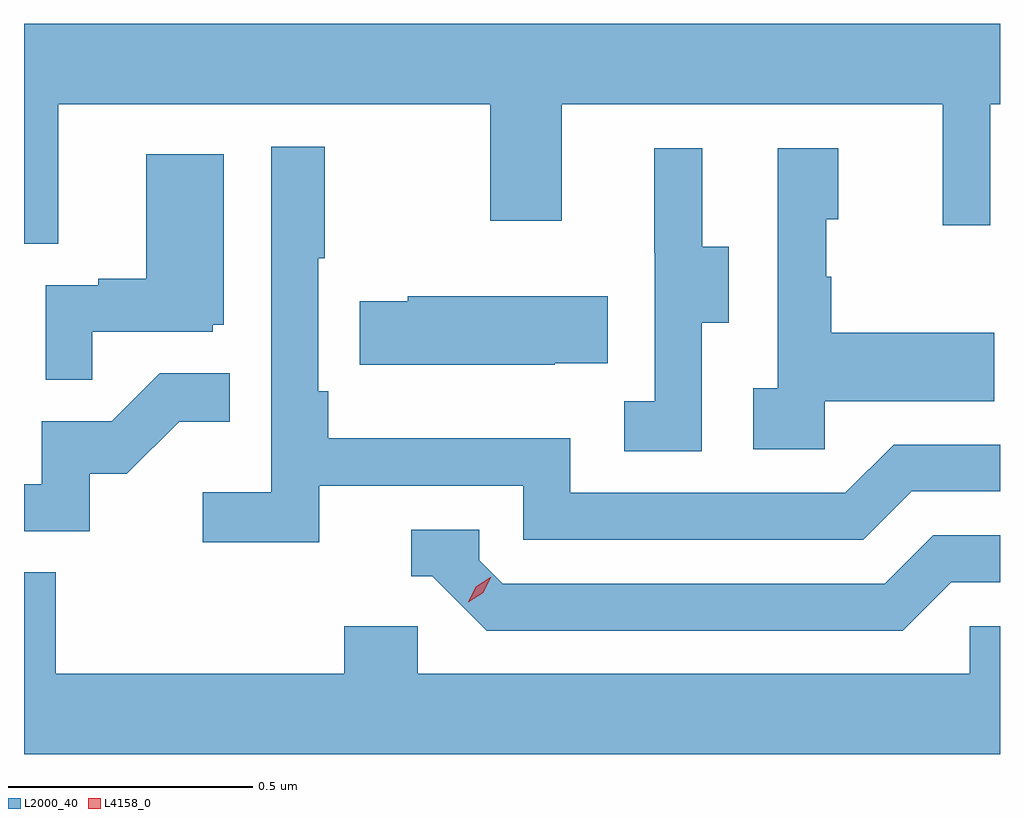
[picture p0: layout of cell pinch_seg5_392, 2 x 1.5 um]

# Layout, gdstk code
import gdstk
lib = gdstk.Library(unit=1e-6, precision=1e-09)
def P(c, l, *ps):  # polygons
    for p in ps: c.add(gdstk.Polygon(p, *l))
L2000_40 = (2000, 40)
L4158_0 = (4158, 0)

pinch_seg5_392 = lib.new_cell('pinch_seg5_392')
P(pinch_seg5_392, L2000_40, [(987.673,867.416),(988.558,867.416),(988.558,867.177),(988.705,867.177),(988.705,867.416),(989.486,867.416),(989.486,867.168),(989.583,867.168),(989.583,867.416),(989.603,867.416),(989.603,867.58),(987.603,867.58),(987.603,867.13),(987.673,867.13)],
  [(988.208,866.634),(988.626,866.634),(988.626,866.523),(989.323,866.523),(989.422,866.622),(989.603,866.622),(989.603,866.718),(989.385,866.718),(989.286,866.619),(988.722,866.619),(988.722,866.731),(988.226,866.731),(988.226,866.827),(988.206,866.827),(988.206,867.1),(988.219,867.1),(988.219,867.328),(988.11,867.328),(988.11,866.62),(987.969,866.62),(987.969,866.518),(988.208,866.518)],
  [(989.244,866.807),(989.591,866.807),(989.591,866.947),(989.257,866.947),(989.257,867.062),(989.247,867.062),(989.247,867.18),(989.272,867.18),(989.272,867.325),(989.148,867.325),(989.148,866.834),(989.097,866.834),(989.097,866.709),(989.244,866.709)],
  [(988.992,866.968),(989.047,866.968),(989.047,867.123),(988.993,867.123),(988.993,867.325),(988.895,867.325),(988.895,867.111),(988.896,867.111),(988.896,866.807),(988.833,866.807),(988.833,866.704),(988.992,866.704)],
  [(987.743,866.949),(987.99,866.949),(987.99,866.964),(988.012,866.964),(988.012,867.313),(987.854,867.313),(987.854,867.058),(987.755,867.058),(987.755,867.045),(987.648,867.045),(987.648,866.851),(987.743,866.851)],
  [(988.691,866.885),(988.799,866.885),(988.799,867.022),(988.389,867.022),(988.389,867.012),(988.291,867.012),(988.291,866.882),(988.691,866.882)],
  [(987.738,866.658),(987.814,866.658),(987.921,866.765),(988.025,866.765),(988.025,866.864),(987.881,866.864),(987.783,866.766),(987.639,866.766),(987.639,866.637),(987.603,866.637),(987.603,866.541),(987.738,866.541)],
  [(989.503,866.436),(989.603,866.436),(989.603,866.532),(989.466,866.532),(989.367,866.433),(988.584,866.433),(988.536,866.481),(988.536,866.544),(988.397,866.544),(988.397,866.448),(988.44,866.448),(988.551,866.337),(989.404,866.337)],
  [(989.603,866.346),(989.541,866.346),(989.541,866.248),(988.41,866.248),(988.41,866.346),(988.259,866.346),(988.259,866.248),(987.668,866.248),(987.668,866.456),(987.603,866.456),(987.603,866.084),(989.603,866.084)])
P(pinch_seg5_392, L4158_0, [(988.513,866.395),(988.513,866.395),(988.529,866.427),(988.56,866.447),(988.56,866.447),(988.56,866.447),(988.544,866.414),(988.513,866.395)])

lib.write_gds('pinch_seg5_392.gds')
